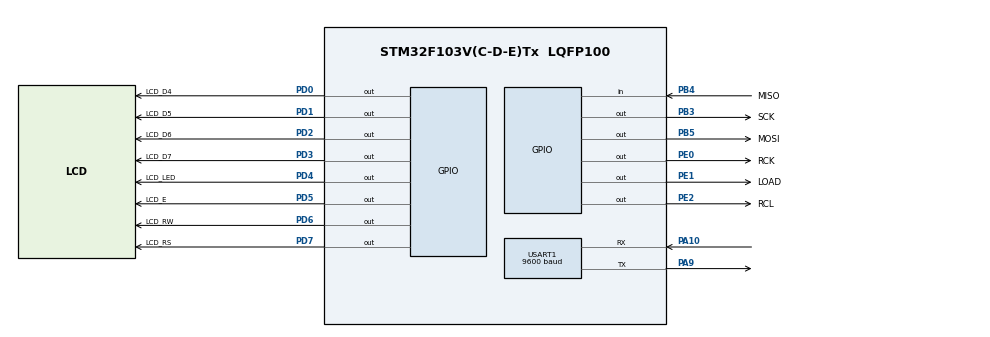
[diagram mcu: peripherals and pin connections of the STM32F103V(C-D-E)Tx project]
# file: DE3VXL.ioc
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Mcu.Family=STM32F1
Mcu.Name=STM32F103V(C-D-E)Tx
Mcu.Package=LQFP100
NVIC.PriorityGroup=NVIC_PRIORITYGROUP_4
NVIC.TIM1_UP_IRQn=true\:0\:0\:false\:false\:true\:true\:true\:true
PA10.Mode=Asynchronous
PA10.Signal=USART1_RX
PA13.Mode=Serial_Wire
PA13.Signal=SYS_JTMS-SWDIO
PA14.Mode=Serial_Wire
PA14.Signal=SYS_JTCK-SWCLK
PA9.Mode=Asynchronous
PA9.Signal=USART1_TX
PB3.GPIO_Label=SCK
PB3.Signal=GPIO_Output
PB4.GPIO_Label=MISO
PB4.Signal=GPIO_Input
PB5.GPIO_Label=MOSI
PB5.Signal=GPIO_Output
PD0.GPIO_Label=LCD_D4
PD0.Signal=GPIO_Output
PD1.GPIO_Label=LCD_D5
PD1.Signal=GPIO_Output
PD2.GPIO_Label=LCD_D6
PD2.Signal=GPIO_Output
PD3.GPIO_Label=LCD_D7
PD3.Signal=GPIO_Output
PD4.GPIO_Label=LCD_LED
PD4.Signal=GPIO_Output
PD5.GPIO_Label=LCD_E
PD5.Signal=GPIO_Output
PD6.GPIO_Label=LCD_RW
PD6.Signal=GPIO_Output
PD7.GPIO_Label=LCD_RS
PD7.Signal=GPIO_Output
PE0.GPIO_Label=RCK
PE0.Signal=GPIO_Output
PE1.GPIO_Label=LOAD
PE1.Signal=GPIO_Output
PE2.GPIO_Label=RCL
PE2.Signal=GPIO_Output
ProjectManager.HeapSize=0x200
ProjectManager.StackSize=0x400
ProjectManager.TargetToolchain=MDK-ARM V5.32
RCC.APB1Freq_Value=8000000
RCC.APB2Freq_Value=8000000
TIM1.Period=999
TIM1.Prescaler=7
USART1.BaudRate=9600
USART1.VirtualMode=VM_ASYNC
VP_TIM1_VS_ClockSourceINT.Mode=Internal
board=custom

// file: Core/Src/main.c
/* USER CODE BEGIN Header */
/**
  ******************************************************************************
  * @file           : main.c
  * @brief          : Main program body
  ******************************************************************************
  * @attention
  *
  * Copyright (c) 2023 STMicroelectronics.
  * All rights reserved.
  *
  * This software is licensed under terms that can be found in the LICENSE file
  * in the root directory of this software component.
  * If no LICENSE file comes with this software, it is provided AS-IS.
  *
  ******************************************************************************
  */
/* USER CODE END Header */
#include "main.h"
/* USER CODE BEGIN Includes */
#include <stdio.h>
#include "LCD.h"

struct __FILE
{
  int handle;
};
/* USER CODE END Includes */

TIM_HandleTypeDef htim1;

UART_HandleTypeDef huart1;

void SystemClock_Config(void);
static void MX_GPIO_Init(void);
static void MX_USART1_UART_Init(void);
static void MX_TIM1_Init(void);
/* USER CODE BEGIN PFP */
#define UART 0
#define LCD 1
uint8_t Print_Device = 0;
FILE __stdout;
int fputc(int ch, FILE *f)
{
	if (Print_Device == UART) HAL_UART_Transmit(&huart1,(uint8_t *)&ch,1,100);
	else if (Print_Device == LCD) LCD_PutChar(ch);
  return ch;
}

/* USER CODE END PFP */

/* USER CODE BEGIN 0 */
void LED_pos(uint8_t pos) {
	#define LED_POS_0		1<<7
	#define LED_POS_1		1<<6
	#define LED_POS_2		1<<5
	#define LED_POS_3		1<<4
	#define LED_POS_4		1<<3
	for (int8_t i=7;i>=0;i--) {
		HAL_GPIO_WritePin(MOSI_GPIO_Port,MOSI_Pin, (GPIO_PinState)(pos&(1<<i)));
		HAL_GPIO_WritePin(SCK_GPIO_Port,SCK_Pin,GPIO_PIN_SET);
		HAL_GPIO_WritePin(SCK_GPIO_Port,SCK_Pin,GPIO_PIN_RESET);
	}
}

void LED_decode(uint8_t LED_Num) {
	const uint8_t LEDCODE[] = {0xAF, 0xA0, 0x6E, 0xEA, 0xE1, 0xCB, 0xCF, 0xA2, 0xEF, 0xEB, 0x00, 0x40, 0xE5, 0x4F, 0x0D};
	for (int8_t i=7;i>=0;i--) {
		HAL_GPIO_WritePin(MOSI_GPIO_Port,MOSI_Pin, (GPIO_PinState)(LEDCODE[LED_Num]&(1<<i)));
		HAL_GPIO_WritePin(SCK_GPIO_Port,SCK_Pin,GPIO_PIN_SET);
		HAL_GPIO_WritePin(SCK_GPIO_Port,SCK_Pin,GPIO_PIN_RESET);
	}
	HAL_GPIO_WritePin(RCK_GPIO_Port,RCK_Pin,GPIO_PIN_SET);
	HAL_GPIO_WritePin(RCK_GPIO_Port,RCK_Pin,GPIO_PIN_RESET);
}

uint8_t ButtonRead(void) {
	uint8_t ButtonData = 0;
		// LOAD pulse
		HAL_GPIO_WritePin(SCK_GPIO_Port,SCK_Pin,GPIO_PIN_SET);
		HAL_GPIO_WritePin(LOAD_GPIO_Port,LOAD_Pin,GPIO_PIN_RESET);
		HAL_GPIO_WritePin(LOAD_GPIO_Port,LOAD_Pin,GPIO_PIN_SET);
		ButtonData = 0;
		for (uint8_t i=0;i<8;i++) {
			HAL_GPIO_WritePin(SCK_GPIO_Port,SCK_Pin,GPIO_PIN_SET);
			ButtonData = (ButtonData<<1)|HAL_GPIO_ReadPin(MISO_GPIO_Port,MISO_Pin);
			HAL_GPIO_WritePin(SCK_GPIO_Port,SCK_Pin,GPIO_PIN_RESET);
		}
		return ButtonData;
}

uint8_t ButtonData = 0;
uint8_t n=0;
uint16_t LED_Display_Number=0;
		uint8_t h=23;
		uint8_t m=59;
		uint8_t s=55;
uint16_t i=0;
		uint8_t state1=0;
		uint8_t state2=0;
		uint8_t state3=0;
uint8_t state4=0;
char ch[20];
void Scan_B1(){
if(LED_Display_Number == 224){
				state1=1;
			}
		}
void Scan_B2(){
if(LED_Display_Number == 193){
				state2=1;
			}
		}
void Scan_B3(){

	if((LED_Display_Number == 161)&&(state3==0)){
		state3=1;
	}
	if((LED_Display_Number != 161)&&(state3==1)){
		state3=2;
	}
	if((LED_Display_Number == 161)&&(state3==2)){
		state3=3;
	}
	if((LED_Display_Number != 161)&&(state3==3)){
		state3=0;
	}

}
void Scan_B4(){

	if((LED_Display_Number == 97)&&(state4==0)){
		state4=1;
	}
	if((LED_Display_Number != 97)&&(state4==1)){
		state4=2;
	}
	if((LED_Display_Number == 97)&&(state4==3)){
		state4=4;
	}
	if((LED_Display_Number != 97)&&(state4==4)){
		state4=0;
	}

}
void HAL_TIM_PeriodElapsedCallback(TIM_HandleTypeDef *htim) {

	if (htim == &htim1 ) {
		LED_Display_Number = ButtonRead();
		Scan_B1();
		Scan_B3();
		Scan_B2();
		Scan_B4();

		if(state2!=1){
		if (i==0) {
				LED_pos(LED_POS_4);
				LED_decode(10);
				LED_pos(LED_POS_0);
				LED_decode(0);
			}
			else if (i==1) {
				LED_pos(LED_POS_0);
				LED_decode(10);
				LED_pos(LED_POS_1);
				LED_decode(14);
			}
			else if (i==2) {
				LED_pos(LED_POS_1);
				LED_decode(10);
				LED_pos(LED_POS_2);
				LED_decode(14);
			}
			else if (i==3) {
				LED_pos(LED_POS_2);
				LED_decode(10);
				LED_pos(LED_POS_3);
				LED_decode(13);
			}
			else if (i==4) {
				LED_pos(LED_POS_3);
				LED_decode(10);
				LED_pos(LED_POS_4);
				LED_decode(12);
			}
			if (i<4) i = i + 1;
			else i = 0;
		}

		if(state2==1){
		if (n==0) {
			LED_pos(LED_POS_4);
			LED_decode(10);
			LED_pos(LED_POS_0);
			LED_decode(s%10);
		}
		else if (n==1) {
			LED_pos(LED_POS_0);
			LED_decode(10);
			LED_pos(LED_POS_1);
			LED_decode(s/10);
		}
		else if (n==2) {
			LED_pos(LED_POS_1);
			LED_decode(10);
			LED_pos(LED_POS_2);
			LED_decode(11);
		}
		else if (n==3) {
			LED_pos(LED_POS_2);
			LED_decode(10);
			LED_pos(LED_POS_3);
			LED_decode(m%10);
		}
		else if (n==4) {
			LED_pos(LED_POS_3);
			LED_decode(10);
			LED_pos(LED_POS_4);
			LED_decode((m/10)%10);
		}
		if (n<4) n = n + 1;
		else n = 0;
	}
	} // end of if (htim == &htim1 )
}
/* USER CODE END 0 */

int main(void)
{

  /* MCU Configuration--------------------------------------------------------*/

  /* Reset of all peripherals, Initializes the Flash interface and the Systick. */
  HAL_Init();

  /* Configure the system clock */
  SystemClock_Config();

  /* Initialize all configured peripherals */
  MX_GPIO_Init();
  MX_USART1_UART_Init();
  MX_TIM1_Init();

  /* Infinite loop */
  /* USER CODE BEGIN WHILE */
	HAL_GPIO_WritePin(RCK_GPIO_Port,RCK_Pin,GPIO_PIN_RESET);
	HAL_GPIO_WritePin(RCL_GPIO_Port,RCL_Pin,GPIO_PIN_RESET);
	HAL_GPIO_WritePin(SCK_GPIO_Port,SCK_Pin,GPIO_PIN_RESET);
	HAL_GPIO_WritePin(LOAD_GPIO_Port, LOAD_Pin, GPIO_PIN_SET);

	HAL_GPIO_WritePin(RCK_GPIO_Port,RCK_Pin,GPIO_PIN_SET);
	HAL_GPIO_WritePin(RCK_GPIO_Port,RCK_Pin,GPIO_PIN_RESET);

	//HAL_TIM_Base_Start_IT(&htim1);
	LCD_Init();
	Print_Device = LCD;
	LCD_GotoXY(0,0);

	printf("Phung Hieu Cuong");
	LCD_GotoXY(0,1);
	printf("21146540");

  while (1)
  {

    HAL_TIM_Base_Start_IT(&htim1);

		if((state4==1)||(state4==2)){
			uint16_t cnt=0;
			Print_Device = UART;
			printf("%02u:%02u:%02u\r",h,m,s);
			cnt++;
			if(cnt>cnt-1){
				Print_Device = LCD;
				state4=3;
			}
		}

		if(state1==1){

			LCD_clear();
			LCD_NoCursor();
			LCD_GotoXY(0,0);
			Print_Device = LCD;
			printf("%02u:%02u:%02u",h,m,s);

			HAL_Delay(1000);

			if((state3!=1)&&(state3!=2)){
				s++;
			if(s==60){
				m++;
				s=0;
				if(m==60){
					h++;
					m=0;
					if(h==24){
						h=0;
					}
					}
				}
			}
		}

		}
    /* USER CODE END WHILE */

}

void SystemClock_Config(void)
{
  RCC_OscInitTypeDef RCC_OscInitStruct = {0};
  RCC_ClkInitTypeDef RCC_ClkInitStruct = {0};

  /** Initializes the RCC Oscillators according to the specified parameters
  * in the RCC_OscInitTypeDef structure.
  */
  RCC_OscInitStruct.OscillatorType = RCC_OSCILLATORTYPE_HSI;
  RCC_OscInitStruct.HSIState = RCC_HSI_ON;
  RCC_OscInitStruct.HSICalibrationValue = RCC_HSICALIBRATION_DEFAULT;
  RCC_OscInitStruct.PLL.PLLState = RCC_PLL_NONE;
  if (HAL_RCC_OscConfig(&RCC_OscInitStruct) != HAL_OK)
  {
    Error_Handler();
  }

  /** Initializes the CPU, AHB and APB buses clocks
  */
  RCC_ClkInitStruct.ClockType = RCC_CLOCKTYPE_HCLK|RCC_CLOCKTYPE_SYSCLK
                              |RCC_CLOCKTYPE_PCLK1|RCC_CLOCKTYPE_PCLK2;
  RCC_ClkInitStruct.SYSCLKSource = RCC_SYSCLKSOURCE_HSI;
  RCC_ClkInitStruct.AHBCLKDivider = RCC_SYSCLK_DIV1;
  RCC_ClkInitStruct.APB1CLKDivider = RCC_HCLK_DIV1;
  RCC_ClkInitStruct.APB2CLKDivider = RCC_HCLK_DIV1;

  if (HAL_RCC_ClockConfig(&RCC_ClkInitStruct, FLASH_LATENCY_0) != HAL_OK)
  {
    Error_Handler();
  }
}

static void MX_TIM1_Init(void)
{

  TIM_ClockConfigTypeDef sClockSourceConfig = {0};
  TIM_MasterConfigTypeDef sMasterConfig = {0};

  htim1.Instance = TIM1;
  htim1.Init.Prescaler = 0;
  htim1.Init.CounterMode = TIM_COUNTERMODE_UP;
  htim1.Init.Period = 5999;
  htim1.Init.ClockDivision = TIM_CLOCKDIVISION_DIV1;
  htim1.Init.RepetitionCounter = 0;
  htim1.Init.AutoReloadPreload = TIM_AUTORELOAD_PRELOAD_DISABLE;
  if (HAL_TIM_Base_Init(&htim1) != HAL_OK)
  {
    Error_Handler();
  }
  sClockSourceConfig.ClockSource = TIM_CLOCKSOURCE_INTERNAL;
  if (HAL_TIM_ConfigClockSource(&htim1, &sClockSourceConfig) != HAL_OK)
  {
    Error_Handler();
  }
  sMasterConfig.MasterOutputTrigger = TIM_TRGO_RESET;
  sMasterConfig.MasterSlaveMode = TIM_MASTERSLAVEMODE_DISABLE;
  if (HAL_TIMEx_MasterConfigSynchronization(&htim1, &sMasterConfig) != HAL_OK)
  {
    Error_Handler();
  }

}

static void MX_USART1_UART_Init(void)
{

  huart1.Instance = USART1;
  huart1.Init.BaudRate = 9600;
  huart1.Init.WordLength = UART_WORDLENGTH_8B;
  huart1.Init.StopBits = UART_STOPBITS_1;
  huart1.Init.Parity = UART_PARITY_NONE;
  huart1.Init.Mode = UART_MODE_TX_RX;
  huart1.Init.HwFlowCtl = UART_HWCONTROL_NONE;
  huart1.Init.OverSampling = UART_OVERSAMPLING_16;
  if (HAL_UART_Init(&huart1) != HAL_OK)
  {
    Error_Handler();
  }

}

static void MX_GPIO_Init(void)
{
  GPIO_InitTypeDef GPIO_InitStruct = {0};

  /* GPIO Ports Clock Enable */
  __HAL_RCC_GPIOE_CLK_ENABLE();
  __HAL_RCC_GPIOA_CLK_ENABLE();
  __HAL_RCC_GPIOD_CLK_ENABLE();
  __HAL_RCC_GPIOB_CLK_ENABLE();

  /*Configure GPIO pin Output Level */
  HAL_GPIO_WritePin(GPIOE, RCL_Pin|RCK_Pin|LOAD_Pin, GPIO_PIN_RESET);

  /*Configure GPIO pin Output Level */
  HAL_GPIO_WritePin(GPIOD, LCD_D4_Pin|LCD_D5_Pin|LCD_D6_Pin|LCD_D7_Pin
                          |LCD_LED_Pin|LCD_E_Pin|LCD_RW_Pin|LCD_RS_Pin, GPIO_PIN_RESET);

  /*Configure GPIO pin Output Level */
  HAL_GPIO_WritePin(GPIOB, SCK_Pin|MOSI_Pin, GPIO_PIN_RESET);

  /*Configure GPIO pins : RCL_Pin RCK_Pin LOAD_Pin */
  GPIO_InitStruct.Pin = RCL_Pin|RCK_Pin|LOAD_Pin;
  GPIO_InitStruct.Mode = GPIO_MODE_OUTPUT_PP;
  GPIO_InitStruct.Pull = GPIO_NOPULL;
  GPIO_InitStruct.Speed = GPIO_SPEED_FREQ_LOW;
  HAL_GPIO_Init(GPIOE, &GPIO_InitStruct);

  /*Configure GPIO pins : LCD_D4_Pin LCD_D5_Pin LCD_D6_Pin LCD_D7_Pin
                           LCD_LED_Pin LCD_E_Pin LCD_RW_Pin LCD_RS_Pin */
  GPIO_InitStruct.Pin = LCD_D4_Pin|LCD_D5_Pin|LCD_D6_Pin|LCD_D7_Pin
                          |LCD_LED_Pin|LCD_E_Pin|LCD_RW_Pin|LCD_RS_Pin;
  GPIO_InitStruct.Mode = GPIO_MODE_OUTPUT_PP;
  GPIO_InitStruct.Pull = GPIO_NOPULL;
  GPIO_InitStruct.Speed = GPIO_SPEED_FREQ_LOW;
  HAL_GPIO_Init(GPIOD, &GPIO_InitStruct);

  /*Configure GPIO pins : SCK_Pin MOSI_Pin */
  GPIO_InitStruct.Pin = SCK_Pin|MOSI_Pin;
  GPIO_InitStruct.Mode = GPIO_MODE_OUTPUT_PP;
  GPIO_InitStruct.Pull = GPIO_NOPULL;
  GPIO_InitStruct.Speed = GPIO_SPEED_FREQ_LOW;
  HAL_GPIO_Init(GPIOB, &GPIO_InitStruct);

  /*Configure GPIO pin : MISO_Pin */
  GPIO_InitStruct.Pin = MISO_Pin;
  GPIO_InitStruct.Mode = GPIO_MODE_INPUT;
  GPIO_InitStruct.Pull = GPIO_NOPULL;
  HAL_GPIO_Init(MISO_GPIO_Port, &GPIO_InitStruct);

}

void Error_Handler(void)
{
  __disable_irq();
  while (1)
  {
  }
}
